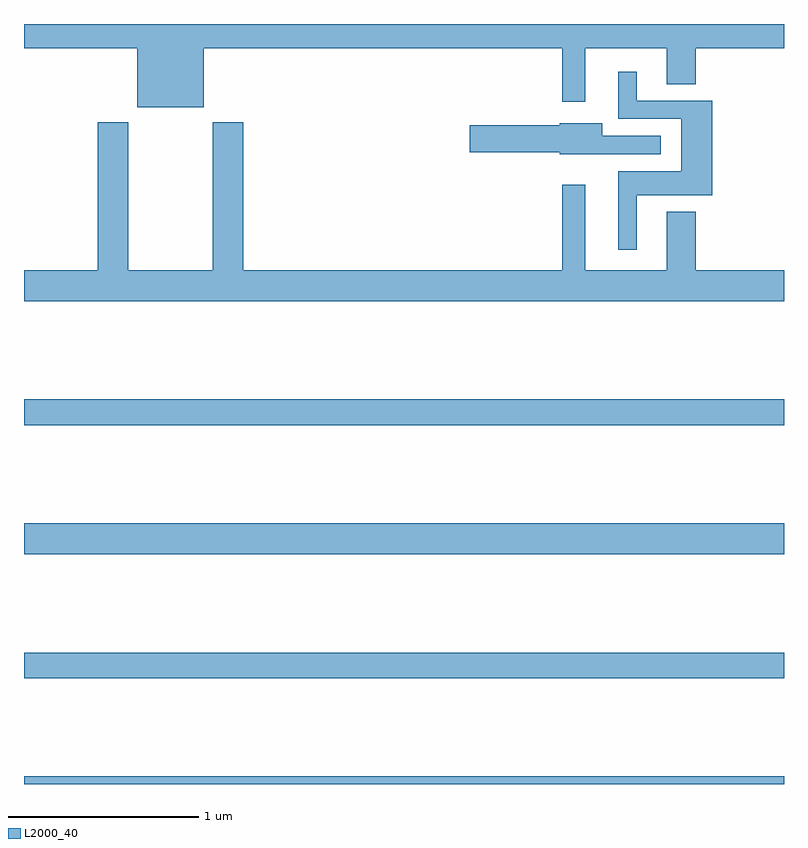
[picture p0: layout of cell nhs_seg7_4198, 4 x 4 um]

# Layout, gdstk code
import gdstk
lib = gdstk.Library(unit=1e-6, precision=1e-09)
def R(c, l, rs):  # rectangles x0, y0, x1, y1
    for r in rs: c.add(gdstk.rectangle(r[:2], r[2:], *l))
def P(c, l, *ps):  # polygons
    for p in ps: c.add(gdstk.Polygon(p, *l))
L2000_40 = (2000, 40)

nhs_seg7_4198 = lib.new_cell('nhs_seg7_4198')
R(nhs_seg7_4198, L2000_40, [(375,1074,379,1074.04), (375,1074.556,379,1074.692), (375,1075.208,379,1075.372), (375,1075.888,379,1076.024)])
P(nhs_seg7_4198, L2000_40, [(375.946,1077.872),(377.832,1077.872),(377.832,1077.591),(377.953,1077.591),(377.953,1077.872),(378.383,1077.872),(378.383,1077.682),(378.536,1077.682),(378.536,1077.872),(379,1077.872),(379,1078),(375,1078),(375,1077.872),(375.596,1077.872),(375.596,1077.563),(375.946,1077.563)],
  [(378.226,1077.098),(378.622,1077.098),(378.622,1077.597),(378.226,1077.597),(378.226,1077.748),(378.128,1077.748),(378.128,1077.501),(378.458,1077.501),(378.458,1077.226),(378.128,1077.226),(378.128,1076.811),(378.226,1076.811)],
  [(379,1076.704),(378.536,1076.704),(378.536,1077.013),(378.383,1077.013),(378.383,1076.704),(377.953,1076.704),(377.953,1077.154),(377.832,1077.154),(377.832,1076.704),(376.154,1076.704),(376.154,1077.484),(375.994,1077.484),(375.994,1076.704),(375.549,1076.704),(375.549,1077.484),(375.389,1077.484),(375.389,1076.704),(375,1076.704),(375,1076.54),(379,1076.54)],
  [(378.039,1077.315),(378.352,1077.315),(378.352,1077.411),(378.043,1077.411),(378.043,1077.478),(377.82,1077.478),(377.82,1077.468),(377.346,1077.468),(377.346,1077.326),(377.82,1077.326),(377.82,1077.314),(378.039,1077.314)])

lib.write_gds('nhs_seg7_4198.gds')
